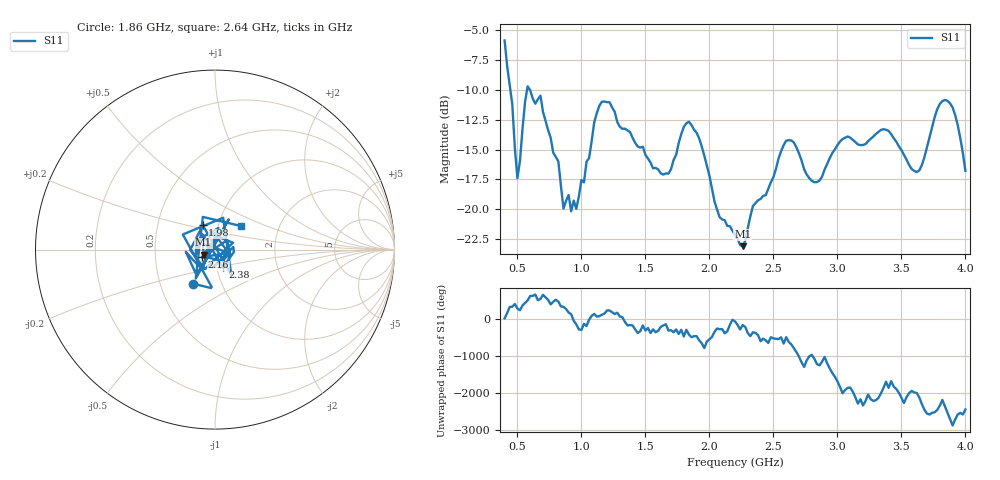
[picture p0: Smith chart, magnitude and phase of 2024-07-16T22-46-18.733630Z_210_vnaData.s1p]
!Created with skrf (http://scikit-rf.org).
# Hz S RI R 50.0
!freq ReS11 ImS11
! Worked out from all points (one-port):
!   181 points, 400 MHz to 4 GHz, reference 50 ohm
!   lowest |S11| = -23.1 dB at 2.26 GHz (marker M1), VSWR 1.15, Z = 43.9 - j2.53 ohm
!   |S11| at or under -10 dB: 444.6 MHz to 575.3 MHz (130.8 MHz wide, 25.6 % of centre); 598 MHz to end of sweep
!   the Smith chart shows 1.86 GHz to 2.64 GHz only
!   S11 on the Smith chart (normalised r, x): 1.86 GHz: 0.73, -0.29; 1.98 GHz: 0.84, +0.23; 2.16 GHz: 0.86, -0.07; 2.38 GHz: 1.07, -0.21; 2.64 GHz: 1.28, +0.35
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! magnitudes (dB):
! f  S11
! 400 MHz  -5.9
! 460 MHz  -11.2
! 500 MHz  -17.4
! 580 MHz  -9.7
! 680 MHz  -10.5
! 820 MHz  -16.0
! 860 MHz  -19.9
! 960 MHz  -20.0
! 1.16 GHz  -11.0
! 1.3 GHz  -13.1
! 1.64 GHz  -17.1
! 1.76 GHz  -14.5
! 1.86 GHz  -12.9
! 1.98 GHz  -16.4
! 2.16 GHz  -21.4
! 2.2 GHz  -22.1
! 2.26 GHz  -23.1
! 2.38 GHz  -19.3
! 2.64 GHz  -14.2
! 2.66 GHz  -14.4
! 2.84 GHz  -17.7
! 3.1 GHz  -14.0
! 3.4 GHz  -13.4
! 3.56 GHz  -16.3
! 3.64 GHz  -16.8
! 3.84 GHz  -10.8
! 3.92 GHz  -12.1
! 4 GHz  -16.8
